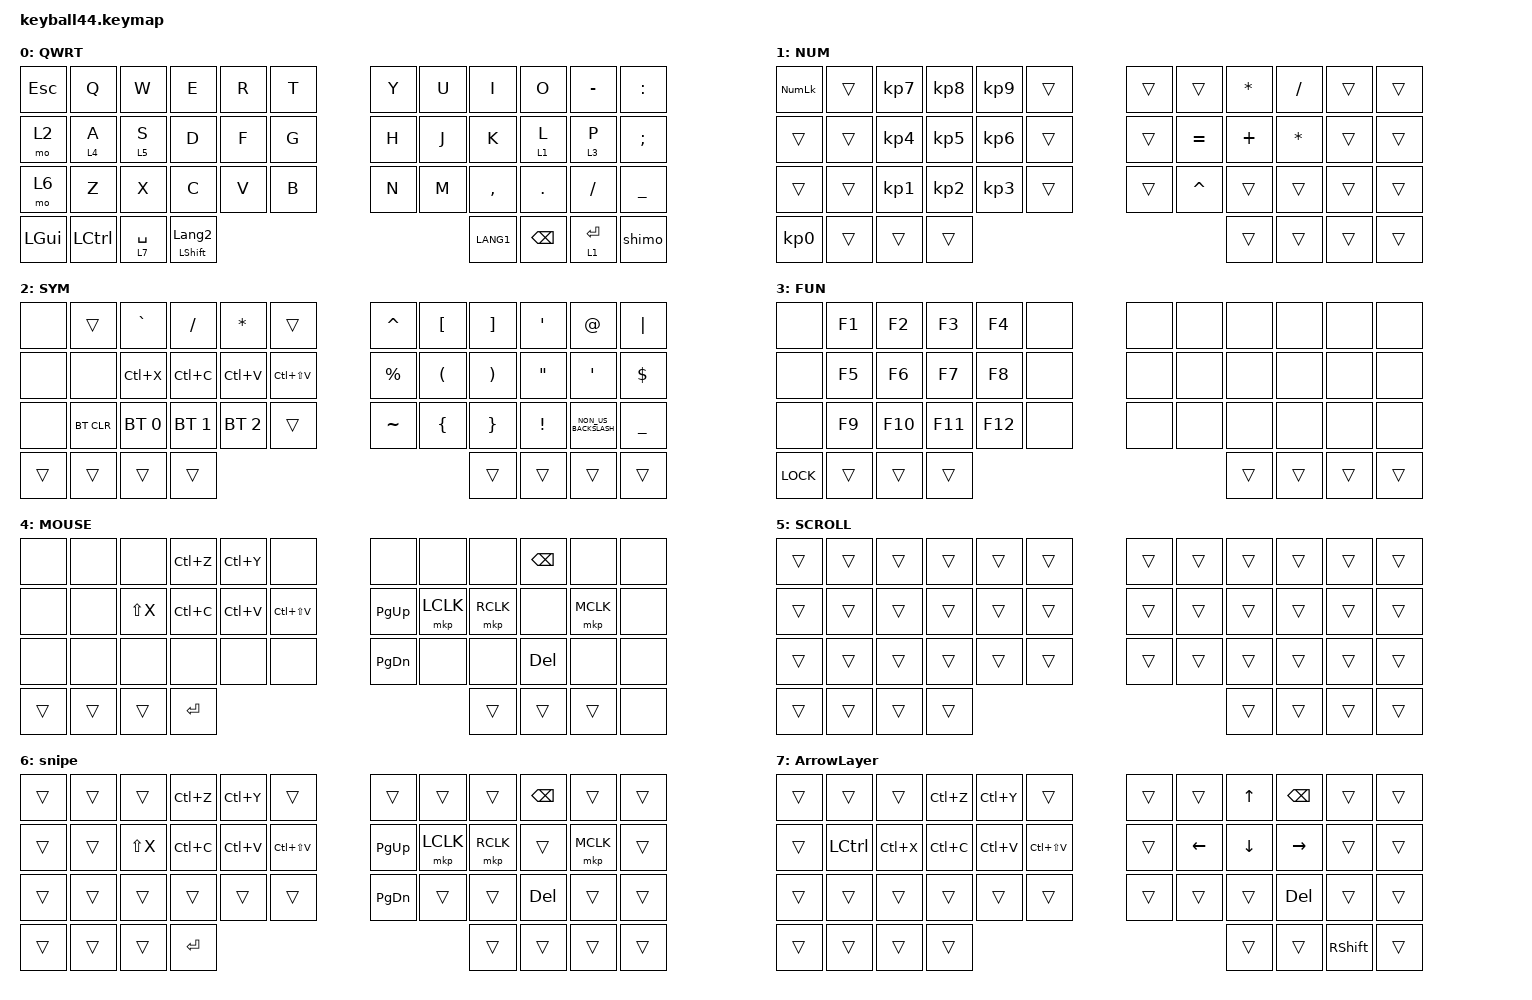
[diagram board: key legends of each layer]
#define DEFAULT 0
#define NUM     1
#define SYM     2
#define FUN     3
#define MOUSE   4
#define SCROLL  5
#define SNIPE   6

#include <behaviors/mouse_keys.dtsi>
#include <dt-bindings/zmk/mouse.h>
#include <behaviors.dtsi>
#include <dt-bindings/zmk/bt.h>
#include <dt-bindings/zmk/keys.h>
#include <dt-bindings/zmk/pointing.h>

&lt {
    tapping-term-ms = <240>;
    flavor = "balanced";
    quick-tap-ms = <150>;
};

&mt {
    tapping-term-ms = <200>;
    flavor = "tap-preferred";
    quick-tap-ms = <150>;
};

&caps_word { continue-list = <UNDERSCORE MINUS>; };

/ {
    // custom shift using mod-morph 

    behaviors {
        cmqus: comma_question {
            compatible = "zmk,behavior-mod-morph";
            label = "COMMA_QUESTION";
            #binding-cells = <0>;
            bindings = <&kp COMMA>, <&kp QUESTION>;

            mods = <(MOD_LSFT|MOD_RSFT)>;
        };

        dtsmi: dot_semi {
            compatible = "zmk,behavior-mod-morph";
            label = "DOT_SEMI";
            #binding-cells = <0>;
            bindings = <&kp DOT>, <&kp SEMI>;

            mods = <(MOD_LSFT|MOD_RSFT)>;
        };
    };

    combos {
        compatible = "zmk,combos";

        df_return {
            bindings = <&kp LA(TAB)>;
            key-positions = <16 14>;
            layers = <0>;
        };

        retr {
            bindings = <&kp RET>;
            key-positions = <16 15>;
        };
    };

    macros {
        shimo: shimo {
            compatible = "zmk,behavior-macro";
            #binding-cells = <0>;
            bindings =
                <&macro_press>,
                <&kp LS(J) &kp S &kp H &kp I &kp M &kp O>;

            label = "SHIMO";
        };
    };

    keymap {
        compatible = "zmk,keymap";

        default_layer {
            label = "QWRT";
            bindings = <
&kp ESCAPE  &kp Q      &kp W        &kp E                      &kp R      &kp T                     &kp Y         &kp U  &kp I      &kp O    &kp MINUS  &kp COLON
&mo 2       &lt 4 A    &lt 5 S      &kp D                      &kp F      &kp G                     &kp H         &kp J  &kp K      &lt 1 L  &lt 3 P    &kp SEMICOLON
&mo 6       &kp Z      &kp X        &kp C                      &kp V      &kp B                     &kp N         &kp M  &kp COMMA  &kp DOT  &kp SLASH  &kp UNDER
&kp LGUI    &kp LCTRL  &lt 7 SPACE  &mt LEFT_SHIFT LANGUAGE_2  &kp LANG1             &kp BACKSPACE  &lt 1 RETURN                                        &shimo
            >;
        };

        number_layer {
            label = "NUM";
            bindings = <
&kp KP_NUMLOCK   &trans  &kp KP_NUMBER_7  &kp KP_NUMBER_8  &kp KP_NUMBER_9  &trans              &trans  &trans     &kp ASTRK  &kp SLASH     &trans  &trans
&trans           &trans  &kp KP_NUMBER_4  &kp KP_NUMBER_5  &kp KP_NUMBER_6  &trans              &trans  &kp EQUAL  &kp PLUS   &kp ASTERISK  &trans  &trans
&trans           &trans  &kp KP_NUMBER_1  &kp KP_NUMBER_2  &kp KP_NUMBER_3  &trans              &trans  &kp CARET  &trans     &trans        &trans  &trans
&kp KP_NUMBER_0  &trans  &trans           &trans           &trans                       &trans  &trans                                              &trans
            >;
        };

        symbol_layer {
            label = "SYM";
            bindings = <
&none   &trans      &kp GRAVE     &kp SLASH     &kp ASTRK     &trans                     &kp CARET    &kp LEFT_BRACKET      &kp RIGHT_BRACKET      &kp SQT            &kp AT_SIGN           &kp PIPE
&none   &none       &kp LC(X)     &kp LC(C)     &kp LC(V)     &kp LC(LS(V))              &kp PERCENT  &kp LEFT_PARENTHESIS  &kp RIGHT_PARENTHESIS  &kp DOUBLE_QUOTES  &kp SQT               &kp DOLLAR
&none   &bt BT_CLR  &bt BT_SEL 0  &bt BT_SEL 1  &bt BT_SEL 2  &trans                     &kp TILDE    &kp LEFT_BRACE        &kp RIGHT_BRACE        &kp EXCLAMATION    &kp NON_US_BACKSLASH  &kp UNDERSCORE
&trans  &trans      &trans        &trans        &trans                           &trans  &trans                                                                                             &trans
            >;
        };

        function_layer {
            label = "FUN";
            bindings = <
&none       &kp F1  &kp F2   &kp F3   &kp F4   &none              &none   &none  &none  &none  &none  &none
&none       &kp F5  &kp F6   &kp F7   &kp F8   &none              &none   &none  &none  &none  &none  &none
&none       &kp F9  &kp F10  &kp F11  &kp F12  &none              &none   &none  &none  &none  &none  &none
&kp K_LOCK  &trans  &trans   &trans   &trans              &trans  &trans                              &trans
            >;
        };

        mouse_layer {
            label = "MOUSE";
            bindings = <
&none   &none   &none      &kp LC(Z)   &kp LC(Y)  &none                      &none          &none      &none      &kp BACKSPACE  &none      &none
&none   &none   &kp LS(X)  &kp LC(C)   &kp LC(V)  &kp LC(LS(V))              &kp PAGE_UP    &mkp LCLK  &mkp RCLK  &none          &mkp MCLK  &none
&none   &none   &none      &none       &none      &none                      &kp PAGE_DOWN  &none      &none      &kp DELETE     &none      &none
&trans  &trans  &trans     &kp RETURN  &trans                        &trans  &trans                                                         &none
            >;
        };

        scroll_layer {
            label = "SCROLL";
            bindings = <
&trans  &trans  &trans  &trans  &trans  &trans              &trans  &trans  &trans  &trans  &trans  &trans
&trans  &trans  &trans  &trans  &trans  &trans              &trans  &trans  &trans  &trans  &trans  &trans
&trans  &trans  &trans  &trans  &trans  &trans              &trans  &trans  &trans  &trans  &trans  &trans
&trans  &trans  &trans  &trans  &trans              &trans  &trans                                  &trans
            >;
        };

        SNIPELAYER {
            label = "snipe";
            bindings = <
&trans  &trans  &trans     &kp LC(Z)   &kp LC(Y)  &trans                     &trans         &trans     &trans     &kp BACKSPACE  &trans     &trans
&trans  &trans  &kp LS(X)  &kp LC(C)   &kp LC(V)  &kp LC(LS(V))              &kp PAGE_UP    &mkp LCLK  &mkp RCLK  &trans         &mkp MCLK  &trans
&trans  &trans  &trans     &trans      &trans     &trans                     &kp PAGE_DOWN  &trans     &trans     &kp DELETE     &trans     &trans
&trans  &trans  &trans     &kp RETURN  &trans                        &trans  &trans                                                         &trans
            >;
        };

        ArrowLayer {
            bindings = <
&trans  &trans     &trans     &kp LC(Z)  &kp LC(Y)  &trans                     &trans           &trans          &kp UP_ARROW    &kp BACKSPACE    &trans  &trans
&trans  &kp LCTRL  &kp LC(X)  &kp LC(C)  &kp LC(V)  &kp LC(LS(V))              &trans           &kp LEFT_ARROW  &kp DOWN_ARROW  &kp RIGHT_ARROW  &trans  &trans
&trans  &trans     &trans     &trans     &trans     &trans                     &trans           &trans          &trans          &kp DELETE       &trans  &trans
&trans  &trans     &trans     &trans     &trans                        &trans  &kp RIGHT_SHIFT                                                           &trans
            >;
        };
    };
};
